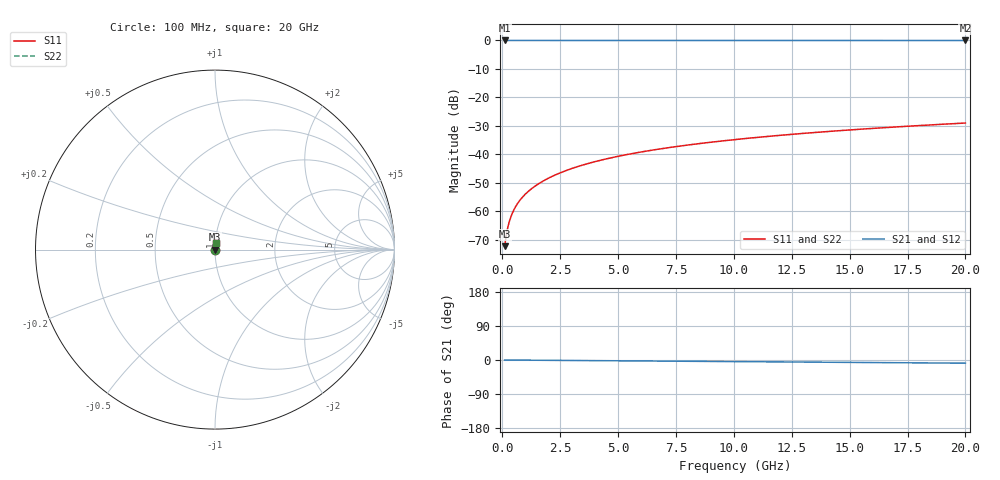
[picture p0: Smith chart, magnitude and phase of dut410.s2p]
! Touchstone file exported from HFSS 2026.1.0
!  File:  C:/ffzhzh/LocalFiles/Ansys_Project_Files/temp_train_TSV_410_1783020538_46388.aedt
!  Generated:  03:30:40 AM Jul  3, 2026
!  Design:  TSV
!  Project:  temp_train_TSV_410_1783020538_46388
! Variables:
!  h_bsmrdl = 2um
!  h_ox = 20um
!  h_rdl = 5um
!  h_sub = 77.51um
!  h_tmrdl = 5um
!  h_tsv = 77.51um
!  h_via = 3um
!  l_bsmrdl = 300um
!  l_sub = 420.82um
!  l_tmrdl = 200um
!  m_sub = 200um
!  pitch = 56.04um
!  r_tsv = 10.41um
!  s_tmrdl = 10um
!  w_bsmrdl = 18um
!  w_sub = 500um
!  w_tmrdl = 12um
!  x_tsv_center1 = 206um
!  x_tsv_center2 = 524um
!  x_tsv_center3 = 736um
!  x_tsv_center4 = 1054um
!  x_tsv_center5 = 1266um
!  x_tsv_center6 = 1584um
# GHz S MA R 50.000000
! Terminal data exported
! Port[1] = TSV1_1_T1
! Port[2] = TSV1_1_T2
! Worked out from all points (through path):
!   200 points, 100 MHz to 20 GHz, reference 50 ohm
!   highest |S21| = 0.00 dB at 100 MHz (marker M1); lowest = 0.0 dB at 20 GHz (marker M2)
!   group delay of S21, straight-line fit = 1.17 ps
!   lowest |S11| = -72.2 dB at 100 MHz (marker M3), VSWR 1.00, Z = 50 + j0.0218 ohm
!   |S11| at or under -10 dB: start of sweep to end of sweep
!   |S22| runs from -72.2 to -29.0 dB; largest |S21 - S12| = 3e-15
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0.1  0.0002458 62.3  0.9999 -0.0  0.9999 -0.0  0.0002458 62.3
! Gamma 0 0 0 0
! Port Impedance 50 0 50 0
0.2  0.0004507 73.9  0.9999 -0.1  0.9999 -0.1  0.0004507 73.9
0.3  0.0006595 77.6  0.9999 -0.1  0.9999 -0.1  0.0006595 77.6
0.4  0.0008655 79.2  0.9998 -0.2  0.9998 -0.2  0.0008655 79.2
0.5  0.001067 80.0  0.9998 -0.2  0.9998 -0.2  0.001067 80.0
0.6  0.001264 80.5  0.9998 -0.3  0.9998 -0.3  0.001264 80.5
0.7  0.001458 80.9  0.9998 -0.3  0.9998 -0.3  0.001458 80.9
0.9  0.001835 81.5  0.9997 -0.4  0.9997 -0.4  0.001835 81.5
1.1  0.002206 81.9  0.9997 -0.5  0.9997 -0.5  0.002206 81.9
1.3  0.002572 82.4  0.9997 -0.6  0.9997 -0.6  0.002572 82.4
1.6  0.003119 82.9  0.9996 -0.7  0.9996 -0.7  0.003119 82.9
1.9  0.003665 83.3  0.9996 -0.8  0.9996 -0.8  0.003665 83.3
2.6  0.004936 83.9  0.9996 -1.1  0.9996 -1.1  0.004936 83.9
3.5  0.006568 84.2  0.9995 -1.5  0.9995 -1.5  0.006568 84.2
4.2  0.007831 84.3  0.9994 -1.8  0.9994 -1.8  0.007831 84.3
5  0.009269 84.3  0.9994 -2.1  0.9994 -2.1  0.009269 84.3
6.8  0.01248 84.0  0.9992 -2.9  0.9992 -2.9  0.01248 84.0
8.3  0.01514 83.6  0.9991 -3.5  0.9991 -3.5  0.01514 83.6
10.1  0.01832 83.1  0.999 -4.3  0.999 -4.3  0.01832 83.1
13.4  0.02412 82.1  0.9988 -5.6  0.9988 -5.6  0.02412 82.1
16.7  0.02987 80.9  0.9985 -7.0  0.9985 -7.0  0.02987 80.9
20  0.03557 79.7  0.9982 -8.4  0.9982 -8.4  0.03557 79.7
